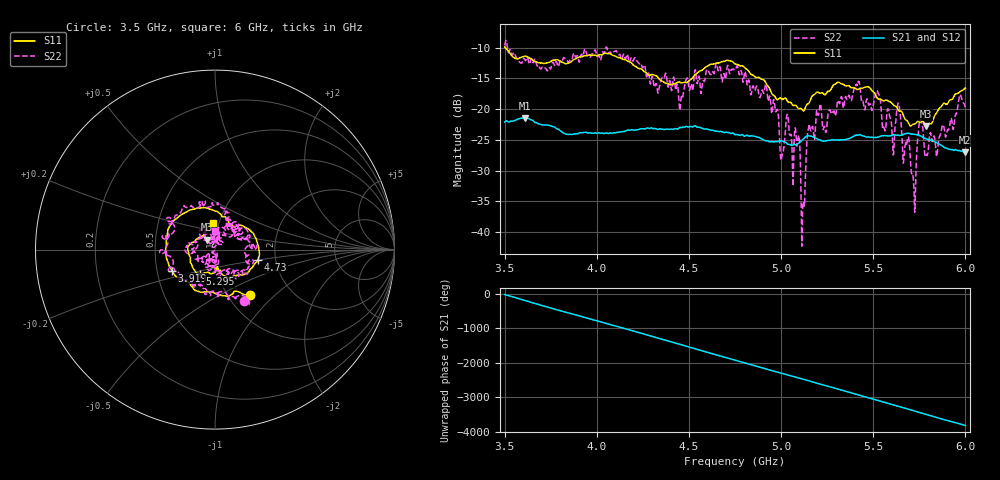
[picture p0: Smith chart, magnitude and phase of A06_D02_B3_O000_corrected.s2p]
! Created with skrf 1.9.0 (http://scikit-rf.org).
# Hz S RI R 50.0
!freq ReS11 ImS11 ReS21 ImS21 ReS12 ImS12 ReS22 ImS22
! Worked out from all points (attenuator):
!   1601 points, 3.5 GHz to 6 GHz, reference 50 ohm
!   highest |S21| = -21.43 dB at 3.611 GHz (marker M1); lowest = -27.0 dB at 5.998 GHz (marker M2)
!   lowest |S11| = -22.8 dB at 5.787 GHz (marker M3), VSWR 1.16, Z = 45.2 + j5 ohm
!   |S11| at or under -10 dB: 3.504 GHz to end of sweep
!   |S22| runs from -42.3 to -8.8 dB; largest |S21 - S12| = 0.001
!   S11 on the Smith chart (normalised r, x): 3.5 GHz: 1.26, -0.71; 3.919 GHz: 0.60, -0.15; 4.73 GHz: 1.61, -0.20; 5.295 GHz: 0.81, -0.23; 6 GHz: 0.94, +0.28
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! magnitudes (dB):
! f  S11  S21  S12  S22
! 3.5 GHz  -9.9  -22.1  -22.1  -9.6
! 3.611 GHz  -11.4  -21.4  -21.4  -12.0
! 3.917 GHz  -11.5  -23.9  -23.8  -11.1
! 3.919 GHz  -11.5  -23.8  -23.8  -11.1
! 4.334 GHz  -14.9  -23.3  -23.2  -17.2
! 4.73 GHz  -12.2  -24.0  -23.9  -13.6
! 4.75 GHz  -12.6  -24.1  -24.1  -13.6
! 4.969 GHz  -18.1  -25.3  -25.2  -20.2
! 5.005 GHz  -18.3  -25.2  -25.2  -27.6
! 5.088 GHz  -19.7  -25.7  -25.7  -26.0
! 5.119 GHz  -20.2  -24.9  -24.8  -35.3
! 5.147 GHz  -19.1  -24.3  -24.3  -23.3
! 5.167 GHz  -17.9  -24.4  -24.4  -23.1
! 5.295 GHz  -15.9  -25.0  -24.9  -21.1
! 5.414 GHz  -16.8  -24.2  -24.2  -15.9
! 5.584 GHz  -18.7  -24.4  -24.3  -20.3
! 5.639 GHz  -20.3  -24.3  -24.2  -19.2
! 5.719 GHz  -22.4  -24.1  -24.0  -32.0
! 5.755 GHz  -22.2  -24.3  -24.3  -21.8
! 5.787 GHz  -22.8  -24.8  -24.8  -27.5
! 5.998 GHz  -16.6  -27.0  -26.9  -19.6
! 6 GHz  -16.6  -27.0  -26.9  -19.7
